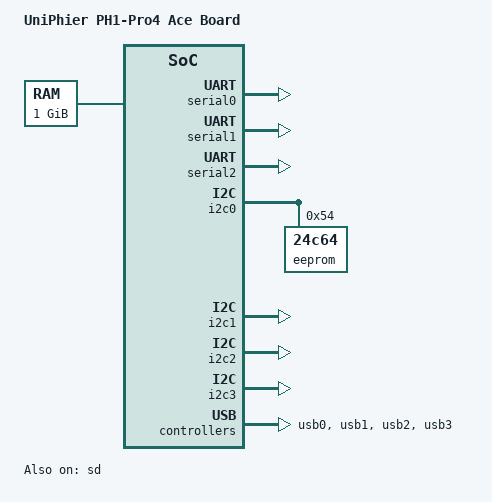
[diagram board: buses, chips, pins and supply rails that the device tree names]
/*
 * Device Tree Source for UniPhier PH1-Pro4 Ace Board
 *
 * Copyright (C) 2016 Masahiro Yamada <yamada.masahiro@socionext.com>
 *
 * SPDX-License-Identifier:	GPL-2.0+	X11
 */

/dts-v1/;
/include/ "uniphier-ph1-pro4.dtsi"

/ {
	model = "UniPhier PH1-Pro4 Ace Board";
	compatible = "socionext,ph1-pro4-ace", "socionext,ph1-pro4";

	memory {
		device_type = "memory";
		reg = <0x80000000 0x40000000>;
	};

	chosen {
		stdout-path = "serial0:115200n8";
	};

	aliases {
		serial0 = &serial0;
		serial1 = &serial1;
		serial2 = &serial2;
		i2c0 = &i2c0;
		i2c1 = &i2c1;
		i2c2 = &i2c2;
		i2c3 = &i2c3;
		i2c5 = &i2c5;
		i2c6 = &i2c6;
	};
};

&serial0 {
	status = "okay";
};

&serial1 {
	status = "okay";
};

&serial2 {
	status = "okay";
};

&i2c0 {
	status = "okay";

	eeprom {
		compatible = "24c64", "i2c-eeprom";
		reg = <0x54>;
		u-boot,i2c-offset-len = <2>;
	};
};

&i2c1 {
	status = "okay";
};

&i2c2 {
	status = "okay";
};

&i2c3 {
	status = "okay";
};

&sd {
	status = "okay";
};

&usb0 {
	status = "okay";
};

&usb1 {
	status = "okay";
};

&usb2 {
	status = "okay";
};

&usb3 {
	status = "okay";
};

/* for U-Boot only */
&serial0 {
	u-boot,dm-pre-reloc;
};

&pinctrl_uart0 {
	u-boot,dm-pre-reloc;
};
